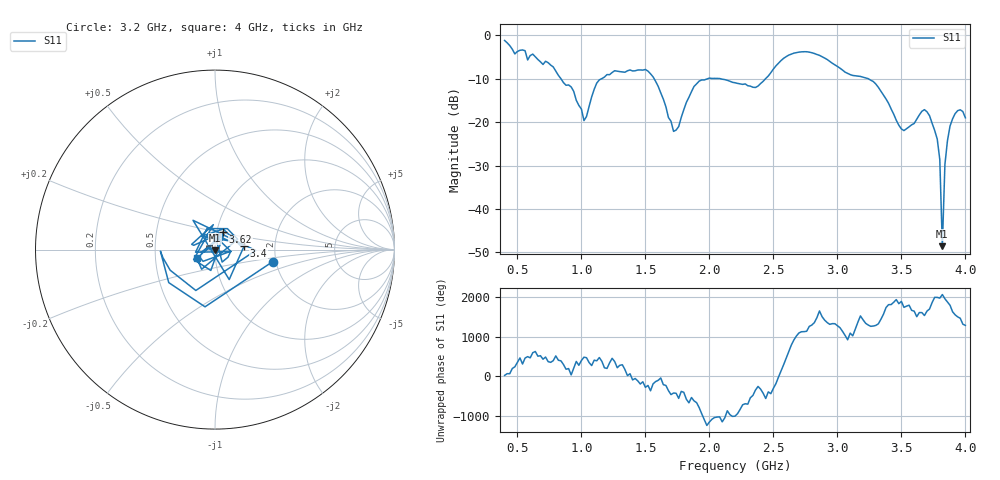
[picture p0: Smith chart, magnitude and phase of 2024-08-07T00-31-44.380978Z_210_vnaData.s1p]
!Created with skrf (http://scikit-rf.org).
# Hz S RI R 50.0
!freq ReS11 ImS11
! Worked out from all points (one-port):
!   181 points, 400 MHz to 4 GHz, reference 50 ohm
!   lowest |S11| = -48.6 dB at 3.82 GHz (marker M1), VSWR 1.01, Z = 49.9 - j0.369 ohm
!   |S11| at or under -10 dB: 1.568 GHz to 1.987 GHz (419 MHz wide, 23.6 % of centre); 2.085 GHz to 2.439 GHz (353.4 MHz wide, 15.6 % of centre); 3.241 GHz to end of sweep (the widest 3 of 4)
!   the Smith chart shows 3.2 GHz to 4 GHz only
!   S11 on the Smith chart (normalised r, x): 3.2 GHz: 1.92, -0.29; 3.4 GHz: 1.39, +0.06; 3.62 GHz: 1.07, +0.21; 4 GHz: 0.81, -0.08
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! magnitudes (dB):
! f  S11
! 400 MHz  -1.2
! 740 MHz  -6.3
! 860 MHz  -10.9
! 940 MHz  -12.9
! 1.02 GHz  -19.7
! 1.12 GHz  -11.0
! 1.3 GHz  -8.4
! 1.52 GHz  -8.2
! 1.72 GHz  -22.1
! 1.76 GHz  -21.0
! 1.92 GHz  -10.6
! 2.2 GHz  -10.9
! 2.36 GHz  -12.0
! 2.66 GHz  -4.1
! 3.1 GHz  -9.1
! 3.2 GHz  -9.6
! 3.4 GHz  -15.7
! 3.5 GHz  -21.6
! 3.56 GHz  -21.1
! 3.62 GHz  -19.3
! 3.7 GHz  -17.6
! 3.78 GHz  -23.9
! 3.8 GHz  -28.6
! 3.82 GHz  -48.6
! 3.84 GHz  -29.8
! 3.88 GHz  -20.9
! 3.94 GHz  -17.4
! 4 GHz  -19.0
